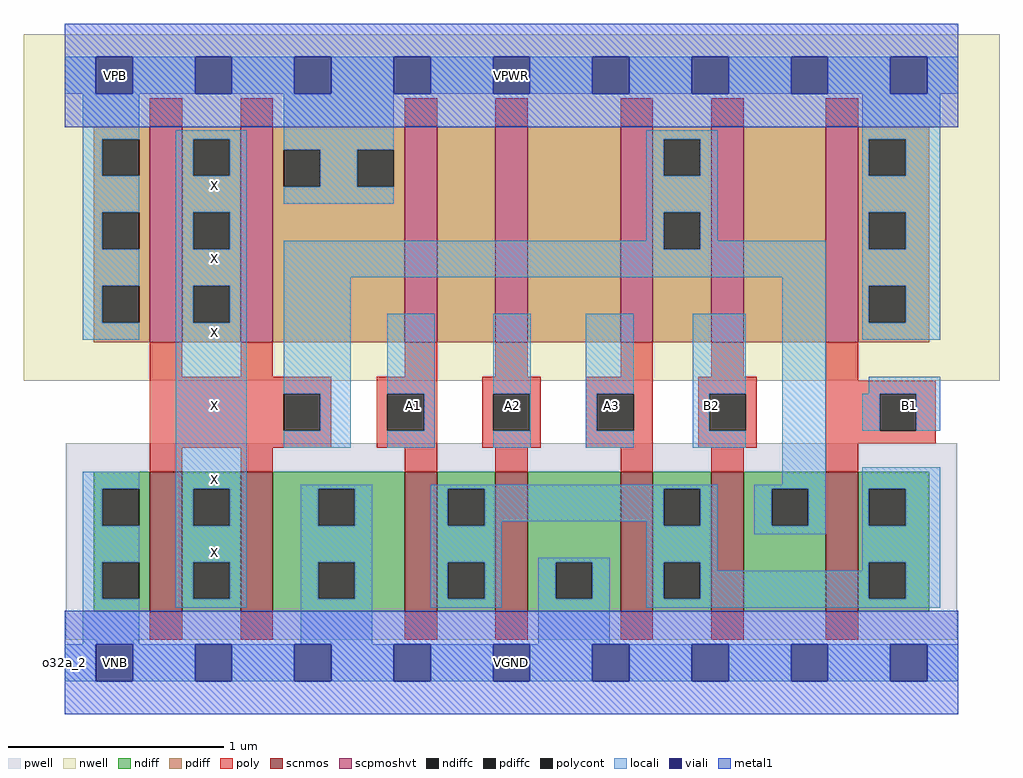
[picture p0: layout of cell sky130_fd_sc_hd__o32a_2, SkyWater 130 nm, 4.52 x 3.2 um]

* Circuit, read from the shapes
.subckt sky130_fd_sc_hd__o32a_2 A1 A2 A3 B1 B2 VGND VNB VPB VPWR X
XM1 X n1 VGND VNB sky130_fd_pr__nfet_01v8 w=0.65 l=0.15 m=2
XM2 n2 A1 VGND VNB sky130_fd_pr__nfet_01v8 w=0.65 l=0.15
XM3 VGND A2 n2 VNB sky130_fd_pr__nfet_01v8 w=0.65 l=0.15
XM4 n2 A3 VGND VNB sky130_fd_pr__nfet_01v8 w=0.65 l=0.15
XM5 n1 B2 n2 VNB sky130_fd_pr__nfet_01v8 w=0.65 l=0.15
XM6 n2 B1 n1 VNB sky130_fd_pr__nfet_01v8 w=0.65 l=0.15
XM7 X n1 VPWR VPB sky130_fd_pr__pfet_01v8_hvt w=1 l=0.15 m=2
XM8 n3 A1 VPWR VPB sky130_fd_pr__pfet_01v8_hvt w=1 l=0.15
XM9 n4 A2 n3 VPB sky130_fd_pr__pfet_01v8_hvt w=1 l=0.15
XM10 n1 A3 n4 VPB sky130_fd_pr__pfet_01v8_hvt w=1 l=0.15
XM11 n5 B2 n1 VPB sky130_fd_pr__pfet_01v8_hvt w=1 l=0.15
XM12 VPWR B1 n5 VPB sky130_fd_pr__pfet_01v8_hvt w=1 l=0.15
.ends

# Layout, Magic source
magic
tech sky130B
magscale 1 2
<< nwell >>
rect -38 261 866 582
<< pwell >>
rect 1 21 827 203
rect 30 -17 64 21
<< scnmos >>
rect 79 47 109 177
rect 163 47 193 177
rect 315 47 345 177
rect 399 47 429 177
rect 515 47 545 177
rect 599 47 629 177
rect 705 47 735 177
<< scpmoshvt >>
rect 79 297 109 497
rect 163 297 193 497
rect 315 297 345 497
rect 399 297 429 497
rect 515 297 545 497
rect 599 297 629 497
rect 705 297 735 497
<< ndiff >>
rect 27 161 79 177
rect 27 127 35 161
rect 69 127 79 161
rect 27 93 79 127
rect 27 59 35 93
rect 69 59 79 93
rect 27 47 79 59
rect 109 161 163 177
rect 109 127 119 161
rect 153 127 163 161
rect 109 93 163 127
rect 109 59 119 93
rect 153 59 163 93
rect 109 47 163 59
rect 193 161 315 177
rect 193 127 235 161
rect 269 127 315 161
rect 193 93 315 127
rect 193 59 235 93
rect 269 59 315 93
rect 193 47 315 59
rect 345 161 399 177
rect 345 127 355 161
rect 389 127 399 161
rect 345 93 399 127
rect 345 59 355 93
rect 389 59 399 93
rect 345 47 399 59
rect 429 93 515 177
rect 429 59 455 93
rect 489 59 515 93
rect 429 47 515 59
rect 545 161 599 177
rect 545 127 555 161
rect 589 127 599 161
rect 545 93 599 127
rect 545 59 555 93
rect 589 59 599 93
rect 545 47 599 59
rect 629 161 705 177
rect 629 127 655 161
rect 689 127 705 161
rect 629 47 705 127
rect 735 161 801 177
rect 735 127 745 161
rect 779 127 801 161
rect 735 93 801 127
rect 735 59 745 93
rect 779 59 801 93
rect 735 47 801 59
<< pdiff >>
rect 27 485 79 497
rect 27 451 35 485
rect 69 451 79 485
rect 27 417 79 451
rect 27 383 35 417
rect 69 383 79 417
rect 27 349 79 383
rect 27 315 35 349
rect 69 315 79 349
rect 27 297 79 315
rect 109 485 163 497
rect 109 451 119 485
rect 153 451 163 485
rect 109 417 163 451
rect 109 383 119 417
rect 153 383 163 417
rect 109 349 163 383
rect 109 315 119 349
rect 153 315 163 349
rect 109 297 163 315
rect 193 475 315 497
rect 193 441 203 475
rect 237 441 271 475
rect 305 441 315 475
rect 193 297 315 441
rect 345 297 399 497
rect 429 297 515 497
rect 545 485 599 497
rect 545 451 555 485
rect 589 451 599 485
rect 545 417 599 451
rect 545 383 555 417
rect 589 383 599 417
rect 545 297 599 383
rect 629 297 705 497
rect 735 485 801 497
rect 735 451 745 485
rect 779 451 801 485
rect 735 417 801 451
rect 735 383 745 417
rect 779 383 801 417
rect 735 349 801 383
rect 735 315 745 349
rect 779 315 801 349
rect 735 297 801 315
<< ndiffc >>
rect 35 127 69 161
rect 35 59 69 93
rect 119 127 153 161
rect 119 59 153 93
rect 235 127 269 161
rect 235 59 269 93
rect 355 127 389 161
rect 355 59 389 93
rect 455 59 489 93
rect 555 127 589 161
rect 555 59 589 93
rect 655 127 689 161
rect 745 127 779 161
rect 745 59 779 93
<< pdiffc >>
rect 35 451 69 485
rect 35 383 69 417
rect 35 315 69 349
rect 119 451 153 485
rect 119 383 153 417
rect 119 315 153 349
rect 203 441 237 475
rect 271 441 305 475
rect 555 451 589 485
rect 555 383 589 417
rect 745 451 779 485
rect 745 383 779 417
rect 745 315 779 349
<< poly >>
rect 79 497 109 523
rect 163 497 193 523
rect 315 497 345 523
rect 399 497 429 523
rect 515 497 545 523
rect 599 497 629 523
rect 705 497 735 523
rect 79 265 109 297
rect 163 265 193 297
rect 315 265 345 297
rect 399 265 429 297
rect 515 265 545 297
rect 599 265 629 297
rect 79 249 247 265
rect 79 215 203 249
rect 237 215 247 249
rect 79 199 247 215
rect 289 249 345 265
rect 289 215 299 249
rect 333 215 345 249
rect 289 199 345 215
rect 387 249 441 265
rect 387 215 397 249
rect 431 215 441 249
rect 387 199 441 215
rect 483 249 545 265
rect 483 215 493 249
rect 527 215 545 249
rect 483 199 545 215
rect 587 249 641 265
rect 587 215 597 249
rect 631 215 641 249
rect 587 199 641 215
rect 705 261 735 297
rect 705 249 807 261
rect 705 215 755 249
rect 789 215 807 249
rect 705 203 807 215
rect 79 177 109 199
rect 163 177 193 199
rect 315 177 345 199
rect 399 177 429 199
rect 515 177 545 199
rect 599 177 629 199
rect 705 177 735 203
rect 79 21 109 47
rect 163 21 193 47
rect 315 21 345 47
rect 399 21 429 47
rect 515 21 545 47
rect 599 21 629 47
rect 705 21 735 47
<< polycont >>
rect 203 215 237 249
rect 299 215 333 249
rect 397 215 431 249
rect 493 215 527 249
rect 597 215 631 249
rect 755 215 789 249
<< locali >>
rect 0 527 29 561
rect 63 527 121 561
rect 155 527 213 561
rect 247 527 305 561
rect 339 527 397 561
rect 431 527 489 561
rect 523 527 581 561
rect 615 527 673 561
rect 707 527 765 561
rect 799 527 828 561
rect 17 485 69 527
rect 17 451 35 485
rect 17 417 69 451
rect 17 383 35 417
rect 17 349 69 383
rect 17 315 35 349
rect 17 299 69 315
rect 103 485 169 493
rect 103 451 119 485
rect 153 451 169 485
rect 103 417 169 451
rect 203 475 305 527
rect 237 441 271 475
rect 203 425 305 441
rect 539 485 605 493
rect 539 451 555 485
rect 589 451 605 485
rect 103 383 119 417
rect 153 383 169 417
rect 539 417 605 451
rect 539 391 555 417
rect 103 349 169 383
rect 103 315 119 349
rect 153 315 169 349
rect 17 161 69 177
rect 17 127 35 161
rect 17 93 69 127
rect 17 59 35 93
rect 17 17 69 59
rect 103 161 169 315
rect 203 383 555 391
rect 589 391 605 417
rect 739 485 811 527
rect 739 451 745 485
rect 779 451 811 485
rect 739 417 811 451
rect 589 383 705 391
rect 203 357 705 383
rect 203 249 265 357
rect 237 215 265 249
rect 203 199 265 215
rect 299 249 343 323
rect 333 215 343 249
rect 299 199 343 215
rect 397 249 432 323
rect 431 215 432 249
rect 397 199 432 215
rect 483 249 527 323
rect 483 215 493 249
rect 483 199 527 215
rect 582 249 631 323
rect 582 215 597 249
rect 582 199 631 215
rect 665 165 705 357
rect 739 383 745 417
rect 779 383 811 417
rect 739 349 811 383
rect 739 315 745 349
rect 779 315 811 349
rect 739 299 811 315
rect 745 249 811 265
rect 739 215 755 249
rect 789 215 811 249
rect 103 127 119 161
rect 153 127 169 161
rect 103 93 169 127
rect 103 59 119 93
rect 153 59 169 93
rect 103 51 169 59
rect 219 161 285 165
rect 219 127 235 161
rect 269 127 285 161
rect 219 93 285 127
rect 219 59 235 93
rect 269 59 285 93
rect 219 17 285 59
rect 339 161 605 165
rect 339 127 355 161
rect 389 131 555 161
rect 389 127 405 131
rect 339 93 405 127
rect 539 127 555 131
rect 589 127 605 161
rect 339 59 355 93
rect 389 59 405 93
rect 339 51 405 59
rect 439 93 505 97
rect 439 59 455 93
rect 489 59 505 93
rect 439 17 505 59
rect 539 93 605 127
rect 639 161 705 165
rect 639 127 655 161
rect 689 127 705 161
rect 639 119 705 127
rect 739 161 811 181
rect 739 127 745 161
rect 779 127 811 161
rect 539 59 555 93
rect 589 85 605 93
rect 739 93 811 127
rect 739 85 745 93
rect 589 59 745 85
rect 779 59 811 93
rect 539 51 811 59
rect 0 -17 29 17
rect 63 -17 121 17
rect 155 -17 213 17
rect 247 -17 305 17
rect 339 -17 397 17
rect 431 -17 489 17
rect 523 -17 581 17
rect 615 -17 673 17
rect 707 -17 765 17
rect 799 -17 828 17
<< viali >>
rect 29 527 63 561
rect 121 527 155 561
rect 213 527 247 561
rect 305 527 339 561
rect 397 527 431 561
rect 489 527 523 561
rect 581 527 615 561
rect 673 527 707 561
rect 765 527 799 561
rect 29 -17 63 17
rect 121 -17 155 17
rect 213 -17 247 17
rect 305 -17 339 17
rect 397 -17 431 17
rect 489 -17 523 17
rect 581 -17 615 17
rect 673 -17 707 17
rect 765 -17 799 17
<< metal1 >>
rect 0 561 828 592
rect 0 527 29 561
rect 63 527 121 561
rect 155 527 213 561
rect 247 527 305 561
rect 339 527 397 561
rect 431 527 489 561
rect 523 527 581 561
rect 615 527 673 561
rect 707 527 765 561
rect 799 527 828 561
rect 0 496 828 527
rect 0 17 828 48
rect 0 -17 29 17
rect 63 -17 121 17
rect 155 -17 213 17
rect 247 -17 305 17
rect 339 -17 397 17
rect 431 -17 489 17
rect 523 -17 581 17
rect 615 -17 673 17
rect 707 -17 765 17
rect 799 -17 828 17
rect 0 -48 828 -17
<< labels >>
flabel locali s 766 221 800 255 0 FreeSans 250 0 0 0 B1
port 4 nsew signal input
flabel locali s 582 221 616 255 0 FreeSans 250 0 0 0 B2
port 5 nsew signal input
flabel locali s 490 221 524 255 0 FreeSans 250 0 0 0 A3
port 3 nsew signal input
flabel locali s 398 221 432 255 0 FreeSans 250 0 0 0 A2
port 2 nsew signal input
flabel locali s 306 221 340 255 0 FreeSans 250 0 0 0 A1
port 1 nsew signal input
flabel locali s 122 85 156 119 0 FreeSans 250 0 0 0 X
port 10 nsew signal output
flabel locali s 122 153 156 187 0 FreeSans 250 0 0 0 X
port 10 nsew signal output
flabel locali s 122 221 156 255 0 FreeSans 250 0 0 0 X
port 10 nsew signal output
flabel locali s 122 289 156 323 0 FreeSans 250 0 0 0 X
port 10 nsew signal output
flabel locali s 122 357 156 391 0 FreeSans 250 0 0 0 X
port 10 nsew signal output
flabel locali s 122 425 156 459 0 FreeSans 250 0 0 0 X
port 10 nsew signal output
flabel pwell s 30 -17 64 17 0 FreeSans 200 0 0 0 VNB
port 7 nsew ground bidirectional
flabel nwell s 30 527 64 561 0 FreeSans 200 0 0 0 VPB
port 8 nsew power bidirectional
flabel metal1 s 30 -17 64 17 0 FreeSans 200 0 0 0 VGND
port 6 nsew ground bidirectional abutment
flabel metal1 s 30 527 64 561 0 FreeSans 200 0 0 0 VPWR
port 9 nsew power bidirectional abutment
rlabel comment s 0 0 0 0 4 o32a_2
rlabel metal1 s 0 -48 828 48 1 VGND
port 6 nsew ground bidirectional abutment
rlabel metal1 s 0 496 828 592 1 VPWR
port 9 nsew power bidirectional abutment
<< properties >>
string FIXED_BBOX 0 0 828 544
string GDS_END 1463770
string GDS_FILE $PDKPATH/libs.ref/sky130_fd_sc_hd/gds/sky130_fd_sc_hd.gds
string GDS_START 1456036
string LEFclass CORE
string LEFsite unithd
string LEFsymmetry X Y R90
string path 0.000 0.000 4.140 0.000 
<< end >>
